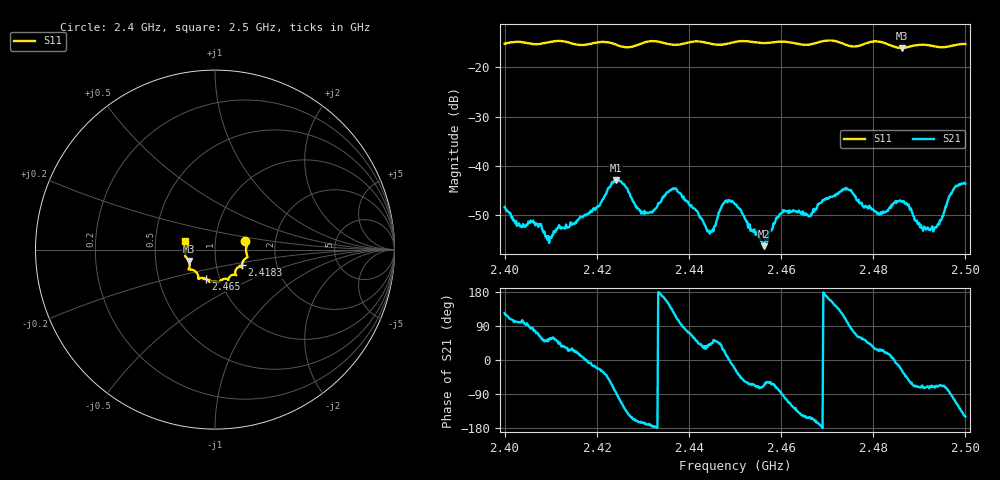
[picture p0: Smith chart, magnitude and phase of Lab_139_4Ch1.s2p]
# Hz S RI R 50
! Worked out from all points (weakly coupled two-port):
!   601 points, 2.4 GHz to 2.5 GHz, reference 50 ohm
!   highest |S21| = -42.99 dB at 2.4242 GHz (marker M1); lowest = -56.4 dB at 2.4563 GHz (marker M2)
!   lowest |S11| = -16.0 dB at 2.4862 GHz (marker M3), VSWR 1.37, Z = 37.1 - j4.81 ohm
!   |S11| at or under -10 dB: start of sweep to end of sweep
!   S12 and S22 are empty: the file has one direction only
!   S11 on the Smith chart (normalised r, x): 2.4 GHz: 1.40, +0.13; 2.4183 GHz: 1.33, -0.24; 2.465 GHz: 0.86, -0.29; 2.5 GHz: 0.71, +0.07
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2.4e9  0.1687 0.0459  -0.00211 0.00313  0 0  0 0
2.4095e9  0.1778 -0.0314  0.0011 0.00156  0 0  0 0
2.416667e9  0.1548 -0.0685  0.00295 0.000527  0 0  0 0
2.418333e9  0.1498 -0.0868  0.00328 -0.00049  0 0  0 0
2.424167e9  0.1415 -0.096  0.000592 -0.00706  0 0  0 0
2.429667e9  0.1132 -0.1344  -0.00313 -0.000801  0 0  0 0
2.433333e9  0.1168 -0.1413  -0.00413 0.000132  0 0  0 0
2.437e9  0.0901 -0.1442  -0.00277 0.00507  0 0  0 0
2.4445e9  0.0651 -0.1633  0.0015 0.00135  0 0  0 0
2.447667e9  0.0379 -0.1677  0.00378 0.00178  0 0  0 0
2.45e9  0.0252 -0.1805  0.00367 -0.00163  0 0  0 0
2.456333e9  -0.0036 -0.1774  0.000596 -0.00138  0 0  0 0
2.460167e9  -0.0286 -0.1814  4.16e-05 -0.00329  0 0  0 0
2.465e9  -0.0528 -0.1621  -0.00263 -0.00168  0 0  0 0
2.466667e9  -0.0713 -0.1577  -0.00293 -0.0015  0 0  0 0
2.474e9  -0.0952 -0.142  -0.00174 0.0054  0 0  0 0
2.481e9  -0.148 -0.1094  0.00293 0.00149  0 0  0 0
2.483333e9  -0.1423 -0.0959  0.00345 0.001  0 0  0 0
2.486167e9  -0.1446 -0.0632  0.00382 -0.00189  0 0  0 0
2.492667e9  -0.165 -0.0223  0.000879 -0.00215  0 0  0 0
2.4975e9  -0.1654 0.0318  -0.00143 -0.00562  0 0  0 0
2.5e9  -0.1668 0.0472  -0.00561 -0.0033  0 0  0 0
